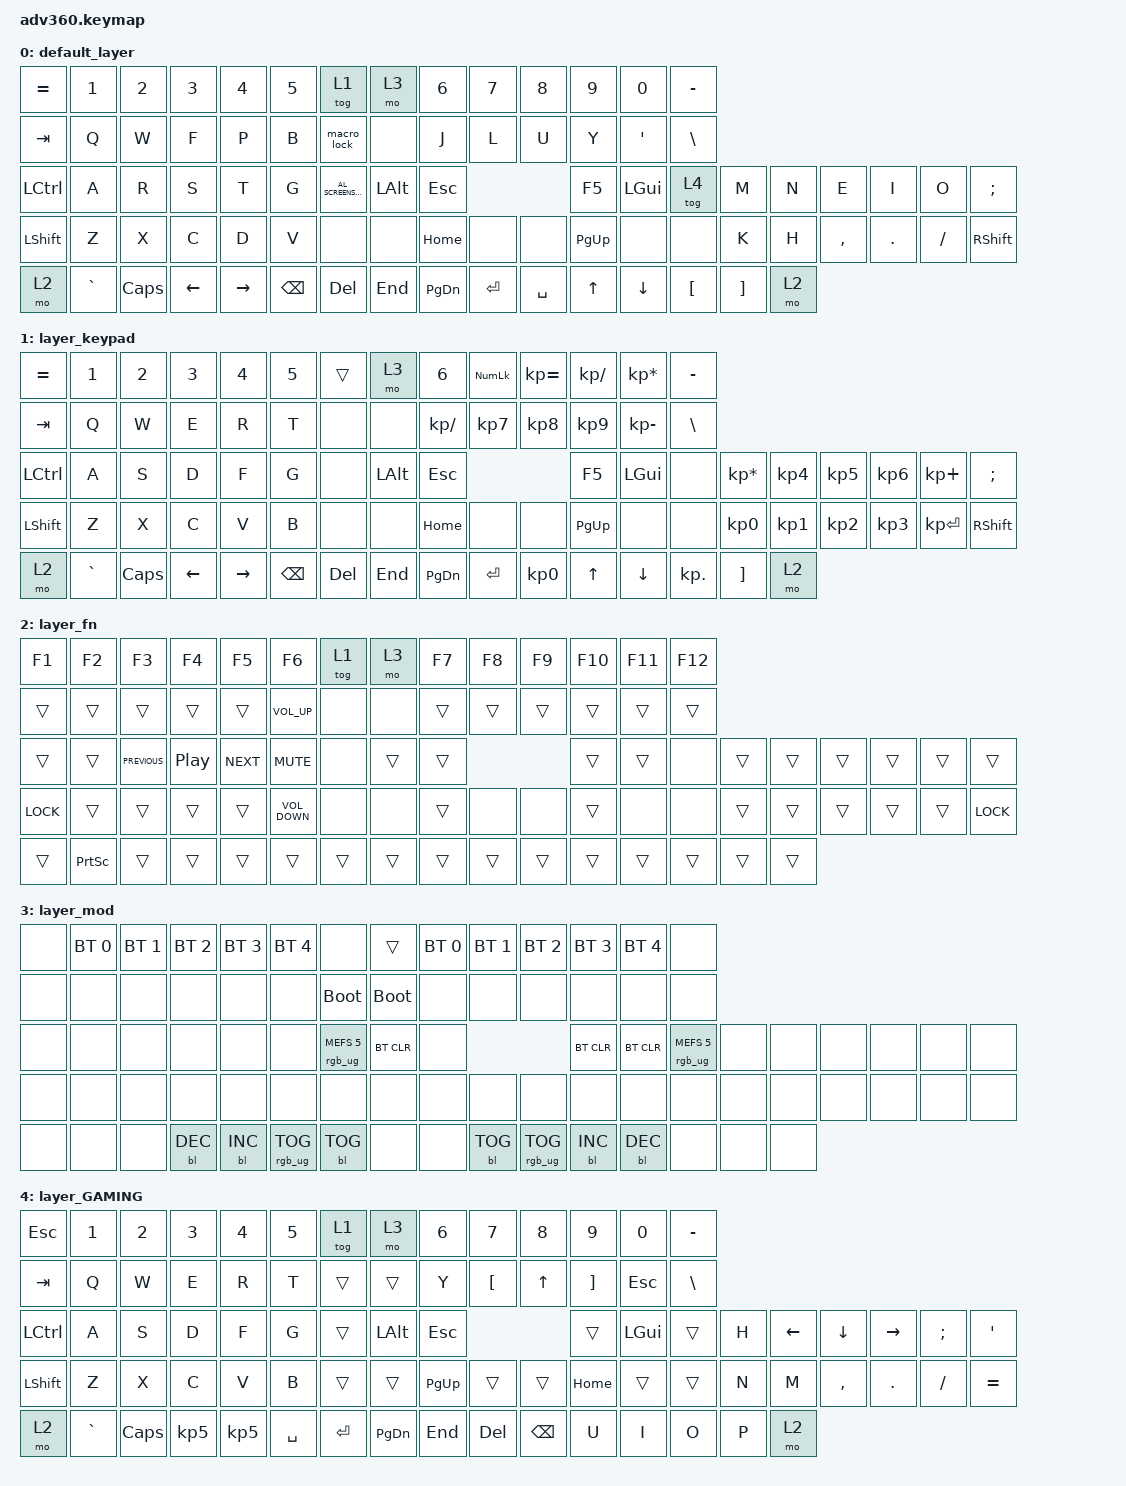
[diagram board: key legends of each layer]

/*
 * Copyright (c) 2020 The ZMK Contributors
 *
 * SPDX-License-Identifier: MIT
 */


/* THIS FILE WAS GENERATED!
 *
 * This file was generated automatically. You may or may not want to
 * edit it directly.
 */

#include <behaviors.dtsi>
#include <dt-bindings/zmk/keys.h>
#include <dt-bindings/zmk/bt.h>
#include <dt-bindings/zmk/rgb.h>
#include <dt-bindings/zmk/backlight.h>

/ {
  behaviors {
    #include "macros.dtsi"
    #include "version.dtsi"

    hm: homerow_mods {
        compatible = "zmk,behavior-hold-tap";
        label = "HOMEROW_MODS";
        #binding-cells = <2>;
        tapping-term-ms = <200>;
        quick_tap_ms = <175>;
        flavor = "tap-preferred";
        bindings = <&kp>, <&kp>;
    };
  };

    keymap {
        compatible = "zmk,keymap";


        default_layer {
            bindings = <
 &kp EQUAL     &kp N1    &kp N2    &kp N3     &kp N4    &kp N5                          &tog 1     &mo 3     &kp N6     &kp N7     &kp N8     &kp N9    &kp N0  &kp MINUS
   &kp TAB      &kp Q     &kp W     &kp F      &kp P     &kp B                     &macro_lock     &none      &kp J      &kp L      &kp U      &kp Y   &kp SQT   &kp BSLH
 &kp LCTRL      &kp A     &kp R     &kp S      &kp T     &kp G            &kp C_AL_SCREENSAVER  &kp LALT    &kp ESC                           &kp F5  &kp LGUI     &tog 4     &kp M   &kp N      &kp E    &kp I     &kp O    &kp SEMI
 &kp LSHFT      &kp Z     &kp X     &kp C      &kp D     &kp V                           &none     &none   &kp HOME      &none      &none  &kp PG_UP     &none      &none     &kp K   &kp H  &kp COMMA  &kp DOT  &kp FSLH  &kp RSHIFT
     &mo 2  &kp GRAVE  &kp CAPS  &kp LEFT  &kp RIGHT  &kp BSPC                         &kp DEL   &kp END  &kp PG_DN  &kp ENTER  &kp SPACE     &kp UP  &kp DOWN   &kp LBKT  &kp RBKT   &mo 2
            >;
        };

        layer_keypad {
            bindings = <
 &kp EQUAL     &kp N1    &kp N2    &kp N3     &kp N4    &kp N5             &trans     &mo 3        &kp N6  &kp KP_NUM  &kp KP_EQUAL  &kp KP_DIVIDE  &kp KP_MULTIPLY   &kp MINUS
   &kp TAB      &kp Q     &kp W     &kp E      &kp R     &kp T              &none     &none  &kp KP_SLASH   &kp KP_N7     &kp KP_N8      &kp KP_N9     &kp KP_MINUS    &kp BSLH
 &kp LCTRL      &kp A     &kp S     &kp D      &kp F     &kp G              &none  &kp LALT       &kp ESC                                   &kp F5         &kp LGUI       &none  &kp KP_MULTIPLY  &kp KP_N4  &kp KP_N5  &kp KP_N6   &kp KP_PLUS   &kp SEMI
 &kp LSHFT      &kp Z     &kp X     &kp C      &kp V     &kp B              &none     &none      &kp HOME       &none         &none      &kp PG_UP            &none       &none        &kp KP_N0  &kp KP_N1  &kp KP_N2  &kp KP_N3  &kp KP_ENTER  &kp RSHFT
     &mo 2  &kp GRAVE  &kp CAPS  &kp LEFT  &kp RIGHT  &kp BSPC            &kp DEL   &kp END     &kp PG_DN   &kp ENTER     &kp KP_N0         &kp UP         &kp DOWN  &kp KP_DOT         &kp RBKT      &mo 2
            >;
        };

        layer_fn {
            bindings = <
     &kp F1     &kp F2          &kp F3            &kp F4      &kp F5             &kp F6            &tog 1   &mo 3  &kp F7  &kp F8  &kp F9  &kp F10  &kp F11  &kp F12
     &trans     &trans          &trans            &trans      &trans    &kp C_VOLUME_UP             &none   &none  &trans  &trans  &trans   &trans   &trans   &trans
     &trans     &trans  &kp C_PREVIOUS  &kp C_PLAY_PAUSE  &kp C_NEXT         &kp C_MUTE             &none  &trans  &trans                   &trans   &trans    &none  &trans  &trans  &trans  &trans  &trans      &trans
 &kp K_LOCK     &trans          &trans            &trans      &trans  &kp C_VOLUME_DOWN             &none   &none  &trans   &none   &none   &trans    &none    &none  &trans  &trans  &trans  &trans  &trans  &kp K_LOCK
     &trans  &kp PSCRN          &trans            &trans      &trans             &trans            &trans  &trans  &trans  &trans  &trans   &trans   &trans   &trans  &trans  &trans
            >;
        };

        layer_mod {
            bindings = <
  &none  &bt BT_SEL 0  &bt BT_SEL 1  &bt BT_SEL 2  &bt BT_SEL 3     &bt BT_SEL 4                             &none       &trans  &bt BT_SEL 0  &bt BT_SEL 1     &bt BT_SEL 2  &bt BT_SEL 3  &bt BT_SEL 4                   &none
  &none         &none         &none         &none         &none            &none                       &bootloader  &bootloader         &none         &none            &none         &none         &none                   &none
  &none         &none         &none         &none         &none            &none            &rgb_ug RGB_MEFS_CMD 5   &bt BT_CLR         &none                                   &bt BT_CLR    &bt BT_CLR  &rgb_ug RGB_MEFS_CMD 5   &none   &none   &none   &none   &none   &none
  &none         &none         &none         &none         &none            &none                             &none        &none         &none         &none            &none         &none         &none                   &none   &none   &none   &none   &none   &none   &none
  &none         &none         &none    &bl BL_DEC    &bl BL_INC  &rgb_ug RGB_TOG                        &bl BL_TOG        &none         &none    &bl BL_TOG  &rgb_ug RGB_TOG    &bl BL_INC    &bl BL_DEC                   &none   &none   &none
            >;
        };

        layer_GAMING {
            bindings = <
   &kp ESC     &kp N1    &kp N2     &kp N3     &kp N4     &kp N5               &tog 1      &mo 3     &kp N6    &kp N7    &kp N8    &kp N9    &kp N0  &kp MINUS
   &kp TAB      &kp Q     &kp W      &kp E      &kp R      &kp T               &trans     &trans      &kp Y  &kp LBKT    &kp UP  &kp RBKT   &kp ESC   &kp BSLH
 &kp LCTRL      &kp A     &kp S      &kp D      &kp F      &kp G               &trans   &kp LALT    &kp ESC                        &trans  &kp LGUI     &trans   &kp H  &kp LEFT   &kp DOWN  &kp RIGHT  &kp SEMI    &kp SQT
 &kp LSHFT      &kp Z     &kp X      &kp C      &kp V      &kp B               &trans     &trans  &kp PG_UP    &trans    &trans  &kp HOME    &trans     &trans   &kp N     &kp M  &kp COMMA    &kp DOT  &kp FSLH  &kp EQUAL
     &mo 2  &kp GRAVE  &kp CAPS  &kp KP_N5  &kp KP_N5  &kp SPACE            &kp ENTER  &kp PG_DN    &kp END   &kp DEL  &kp BSPC     &kp U     &kp I      &kp O   &kp P     &mo 2
            >;
        };

    };
};
